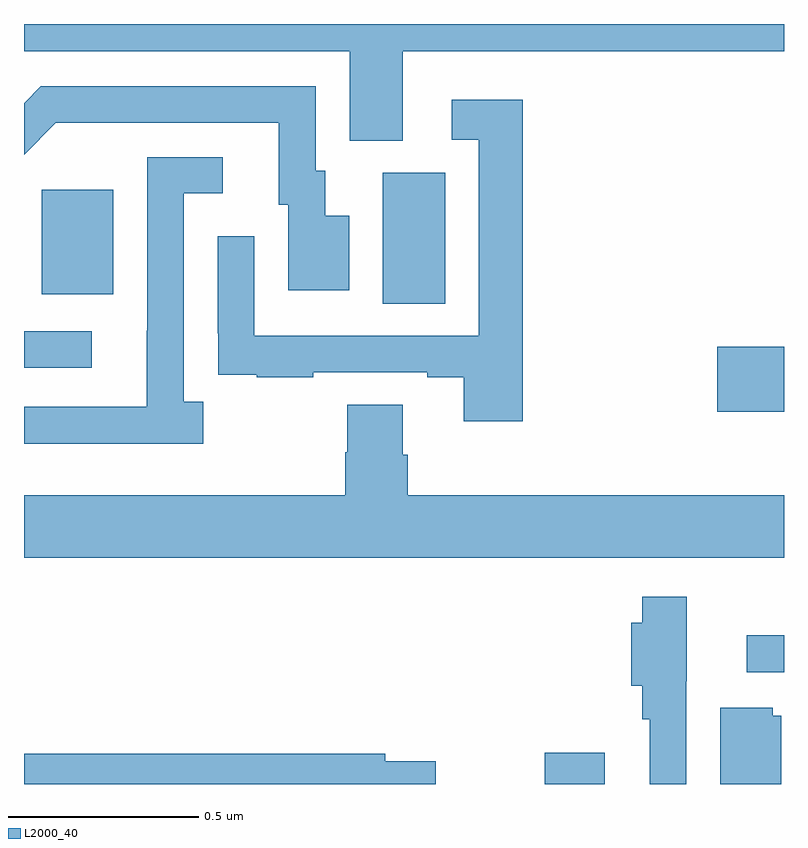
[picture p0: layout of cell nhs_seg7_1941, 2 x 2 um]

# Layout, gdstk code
import gdstk
lib = gdstk.Library(unit=1e-6, precision=1e-09)
def R(c, l, rs):  # rectangles x0, y0, x1, y1
    for r in rs: c.add(gdstk.rectangle(r[:2], r[2:], *l))
def P(c, l, *ps):  # polygons
    for p in ps: c.add(gdstk.Polygon(p, *l))
L2000_40 = (2000, 40)

nhs_seg7_1941 = lib.new_cell('nhs_seg7_1941')
R(nhs_seg7_1941, L2000_40, [(139.37,1020,139.528,1020.082), (139.902,1020.294,140,1020.391), (139.824,1020.98,140,1021.151), (138,1021.095,138.178,1021.191), (138.944,1021.264,139.108,1021.608), (138.047,1021.289,138.235,1021.564)])
P(nhs_seg7_1941, L2000_40, [(138.997,1021.928),(140,1021.928),(140,1022),(138,1022),(138,1021.928),(138.857,1021.928),(138.857,1021.693),(138.997,1021.693)],
  [(138.856,1021.495),(138.793,1021.495),(138.793,1021.614),(138.768,1021.614),(138.768,1021.836),(138.044,1021.836),(138,1021.792),(138,1021.656),(138.084,1021.74),(138.671,1021.74),(138.671,1021.524),(138.695,1021.524),(138.695,1021.299),(138.856,1021.299)],
  [(139.313,1021.801),(139.125,1021.801),(139.125,1021.695),(139.197,1021.695),(139.197,1021.179),(138.606,1021.179),(138.606,1021.441),(138.51,1021.441),(138.51,1021.186),(138.511,1021.186),(138.511,1021.077),(138.613,1021.077),(138.613,1021.071),(138.761,1021.071),(138.761,1021.083),(139.061,1021.083),(139.061,1021.071),(139.157,1021.071),(139.157,1020.954),(139.313,1020.954)],
  [(138.472,1021.006),(138.42,1021.006),(138.42,1021.554),(138.523,1021.554),(138.523,1021.65),(138.324,1021.65),(138.324,1021.193),(138.323,1021.193),(138.323,1020.993),(138,1020.993),(138,1020.896),(138.472,1020.896)],
  [(140,1020.76),(139.01,1020.76),(139.01,1020.866),(138.997,1020.866),(138.997,1020.998),(138.85,1020.998),(138.85,1020.873),(138.845,1020.873),(138.845,1020.76),(138,1020.76),(138,1020.596),(140,1020.596)],
  [(139.743,1020.27),(139.744,1020.27),(139.744,1020.493),(139.627,1020.493),(139.627,1020.424),(139.598,1020.424),(139.598,1020.259),(139.627,1020.259),(139.627,1020.17),(139.647,1020.17),(139.647,1020),(139.743,1020)],
  [(139.993,1020.18),(139.971,1020.18),(139.971,1020.201),(139.832,1020.201),(139.832,1020),(139.993,1020)],
  [(139.084,1020.06),(138.95,1020.06),(138.95,1020.08),(138,1020.08),(138,1020),(139.084,1020)])

lib.write_gds('nhs_seg7_1941.gds')
